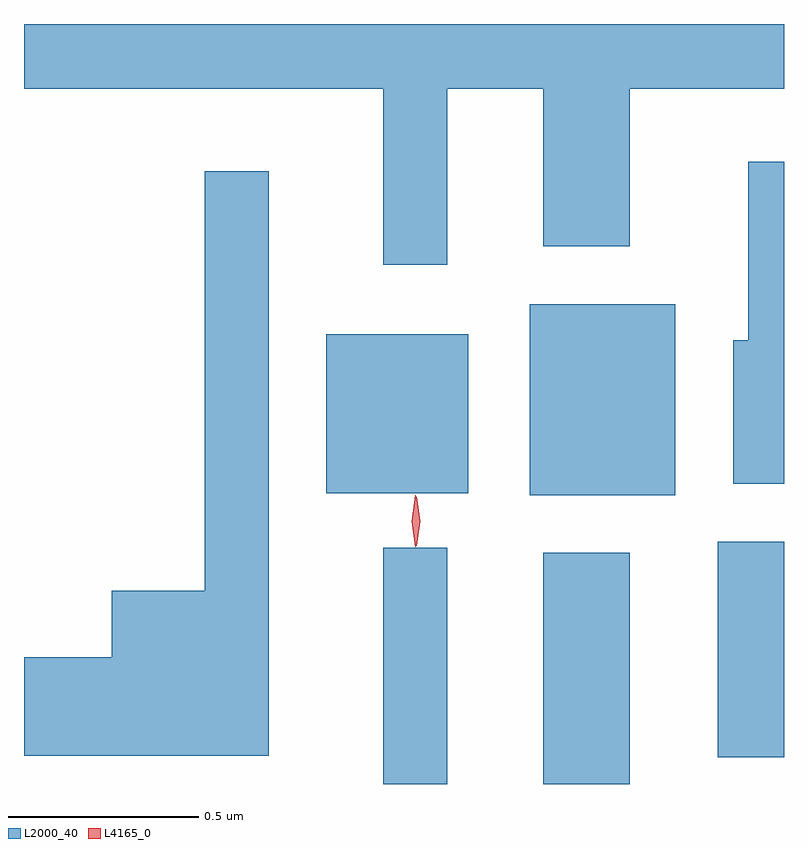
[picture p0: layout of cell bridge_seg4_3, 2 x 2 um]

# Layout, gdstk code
import gdstk
lib = gdstk.Library(unit=1e-6, precision=1e-09)
def R(c, l, rs):  # rectangles x0, y0, x1, y1
    for r in rs: c.add(gdstk.rectangle(r[:2], r[2:], *l))
def P(c, l, *ps):  # polygons
    for p in ps: c.add(gdstk.Polygon(p, *l))
L2000_40 = (2000, 40)
L4165_0 = (4165, 0)

bridge_seg4_3 = lib.new_cell('bridge_seg4_3')
R(bridge_seg4_3, L2000_40, [(1252.011,1381.706,1252.179,1382.328), (1252.431,1381.706,1252.659,1382.314), (1252.891,1381.776,1253.065,1382.344), (1252.396,1382.466,1252.779,1382.969), (1251.861,1382.471,1252.234,1382.889)])
P(bridge_seg4_3, L2000_40, [(1252.179,1383.536),(1252.431,1383.536),(1252.431,1383.121),(1252.659,1383.121),(1252.659,1383.536),(1253.065,1383.536),(1253.065,1383.706),(1251.065,1383.706),(1251.065,1383.536),(1252.011,1383.536),(1252.011,1383.073),(1252.179,1383.073)],
  [(1253.065,1383.344),(1252.971,1383.344),(1252.971,1382.874),(1252.931,1382.874),(1252.931,1382.496),(1253.065,1382.496)],
  [(1251.709,1383.318),(1251.541,1383.318),(1251.541,1382.214),(1251.296,1382.214),(1251.296,1382.039),(1251.065,1382.039),(1251.065,1381.781),(1251.709,1381.781)])
P(bridge_seg4_3, L4165_0, [(1252.094,1382.33),(1252.085,1382.398),(1252.094,1382.466),(1252.095,1382.466),(1252.096,1382.466),(1252.105,1382.398),(1252.096,1382.33),(1252.095,1382.33)],
  [(1252.097,1382.333),(1252.088,1382.397),(1252.097,1382.462),(1252.098,1382.462),(1252.098,1382.462),(1252.108,1382.397),(1252.098,1382.333),(1252.098,1382.333)])

lib.write_gds('bridge_seg4_3.gds')
